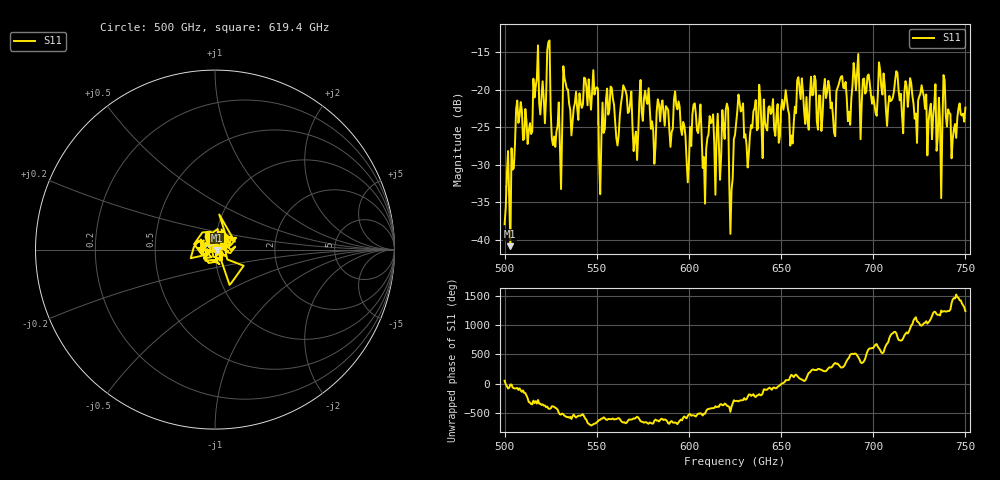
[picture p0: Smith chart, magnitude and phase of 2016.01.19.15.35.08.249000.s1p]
!Created with skrf (http://scikit-rf.org).
# GHz S RI R 50.0
!freq ReS11 ImS11
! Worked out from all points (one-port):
!   401 points, 500 GHz to 750 GHz, reference 50 ohm
!   lowest |S11| = -40.8 dB at 503.1 GHz (marker M1), VSWR 1.02, Z = 50.9 - j0.203 ohm
!   |S11| at or under -10 dB: start of sweep to end of sweep
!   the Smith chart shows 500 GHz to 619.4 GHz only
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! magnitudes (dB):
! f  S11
! 500 GHz  -37.9
! 503.1 GHz  -40.8
! 507.5 GHz  -24.4
! 513.8 GHz  -24.5
! 516.9 GHz  -19.6
! 531.2 GHz  -25.2
! 533.1 GHz  -19.1
! 536.2 GHz  -26.1
! 549.4 GHz  -19.9
! 552.5 GHz  -26.6
! 556.9 GHz  -22.7
! 562.5 GHz  -23.5
! 593.8 GHz  -22.6
! 608.8 GHz  -35.2
! 620 GHz  -22.7
! 623.1 GHz  -33.3
! 625 GHz  -26.0
! 628.1 GHz  -22.9
! 631.2 GHz  -27.3
! 637.5 GHz  -25.2
! 656.2 GHz  -27.2
! 660 GHz  -19.8
! 687.5 GHz  -24.7
! 690.6 GHz  -20.1
! 718.8 GHz  -22.3
! 735.6 GHz  -21.1
! 739.4 GHz  -23.5
! 750 GHz  -22.4
